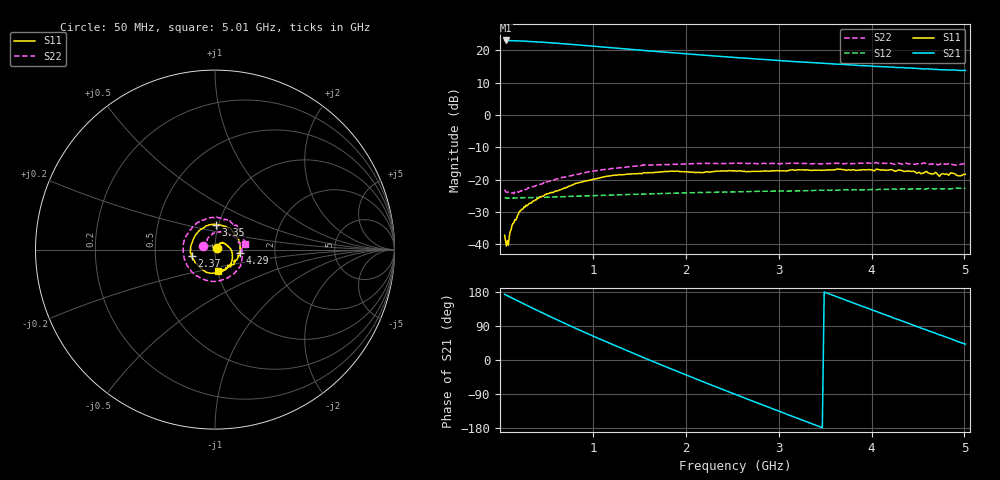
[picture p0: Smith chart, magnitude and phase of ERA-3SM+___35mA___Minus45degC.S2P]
! Mini-Circuits
! S2P DATA File Format
! Type: MMIC Amplifier
! Model: ERA-3SM  Reference Data: RDF-1128B
! Note: All S Parameters are in dB deg format
! TEST CONDITIONS: INPUT POWER = -25dBm, Icc = 35mA, Vd = 3.42V @Temperature = -45degC
! 401 Frequency points
# MHz S DB R 50
!  FREQ  dB(S11)  PHS(S11)  dB(S21)  PHS(S21)  dB(S12)  PHS(S12)  dB(S22)  PHS(S22)
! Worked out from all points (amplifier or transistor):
!   401 points, 50 MHz to 5.01 GHz, reference 50 ohm
!   highest |S21| = 23.1 dB at 60 MHz (marker M1)
!   |S21| within 3 dB of that: start of sweep to 1.51 GHz
!   unconditionally stable (mu >= 1): start of sweep to end of sweep
!   at 710 MHz: K = 1.05, MAG = 22.3 dB, |S12| = -25.2 dB
!   at 2.05 GHz: K = 1.12, MAG = 19.3 dB, |S12| = -24.0 dB
!   at 5.01 GHz: K = 1.52, MAG = 14.0 dB, |S12| = -22.7 dB
!   S11 on the Smith chart (normalised r, x): 50 MHz: 1.02, +0.02; 2.37 GHz: 0.77, -0.06; 3.35 GHz: 0.98, +0.28; 4.29 GHz: 1.32, -0.05; 5.01 GHz: 1.00, -0.24
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50  -37.23 51.1  23.08 173.3  -25.70 -3.6  -23.12 164.4
60  -38.99 35.0  23.09 172.1  -25.66 -4.8  -23.74 164.9
250  -29.05 52.0  22.88 149.0  -25.65 -14.4  -23.43 131.3
480  -24.82 44.3  22.53 121.6  -25.53 -28.4  -20.57 97.3
680  -22.83 17.4  22.08 98.6  -25.26 -40.7  -19.28 65.8
880  -20.75 -3.3  21.62 76.4  -25.09 -53.6  -18.05 40.2
1090  -19.28 -26.1  21.10 53.6  -24.89 -67.1  -16.95 15.5
1300  -18.54 -47.4  20.60 31.6  -24.69 -81.4  -16.30 -7.6
1510  -18.08 -69.0  20.09 9.9  -24.49 -95.3  -15.66 -29.5
1710  -17.66 -90.6  19.63 -10.3  -24.35 -109.0  -15.40 -50.3
2060  -17.73 -126.8  18.84 -44.9  -24.04 -133.0  -15.08 -84.1
2370  -17.35 -164.5  18.16 -75.2  -23.88 -154.7  -15.02 -116.7
2530  -17.32 178.4  17.81 -90.4  -23.81 -165.7  -14.94 -132.8
2750  -17.46 152.5  17.39 -111.3  -23.64 178.6  -15.05 -153.9
2980  -17.20 126.6  16.94 -133.0  -23.55 162.5  -15.02 -176.2
3350  -17.16 87.0  16.26 -167.5  -23.38 136.2  -15.13 149.0
3370  -17.11 84.7  16.21 -169.3  -23.40 135.0  -15.08 146.9
3710  -16.94 47.0  15.66 159.2  -23.14 110.5  -15.08 116.4
4190  -17.03 -0.3  14.86 115.6  -23.02 76.7  -14.87 76.6
4290  -17.03 -8.1  14.70 106.5  -23.00 69.3  -14.93 68.3
4610  -17.93 -41.7  14.30 77.3  -22.71 46.3  -15.37 43.6
5010  -18.38 -82.7  13.81 41.8  -22.65 18.3  -15.42 10.2
